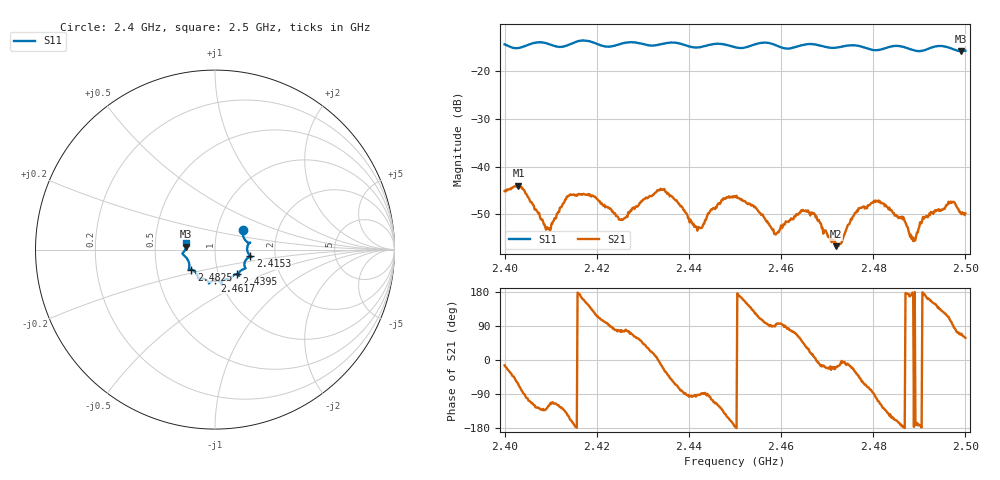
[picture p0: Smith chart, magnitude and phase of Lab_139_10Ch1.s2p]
# Hz S RI R 50
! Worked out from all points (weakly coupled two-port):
!   601 points, 2.4 GHz to 2.5 GHz, reference 50 ohm
!   highest |S21| = -43.96 dB at 2.403 GHz (marker M1); lowest = -56.6 dB at 2.4718 GHz (marker M2)
!   lowest |S11| = -15.8 dB at 2.499 GHz (marker M3), VSWR 1.38, Z = 36.2 + j1.28 ohm
!   |S11| at or under -10 dB: start of sweep to end of sweep
!   S12 and S22 are empty: the file has one direction only
!   S11 on the Smith chart (normalised r, x): 2.4 GHz: 1.33, +0.30; 2.4153 GHz: 1.49, -0.11; 2.4395 GHz: 1.22, -0.35; 2.4617 GHz: 0.94, -0.33; 2.4825 GHz: 0.75, -0.17; 2.5 GHz: 0.72, +0.05
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2.4e9  0.156 0.1085  0.0054 -0.00134  0 0  0 0
2.403e9  0.1633 0.0602  0.00268 -0.00574  0 0  0 0
2.4095e9  0.1893 0.0345  -0.00115 -0.00192  0 0  0 0
2.415333e9  0.1973 -0.0369  -0.00499 -0.000363  0 0  0 0
2.416667e9  0.204 -0.0415  -0.00495 0.00134  0 0  0 0
2.425333e9  0.1667 -0.0978  0.000549 0.00277  0 0  0 0
2.433333e9  0.1327 -0.1333  0.00565 -2.01e-05  0 0  0 0
2.4395e9  0.1224 -0.1378  -0.000139 -0.00323  0 0  0 0
2.442333e9  0.0954 -0.1495  -4.64e-05 -0.0023  0 0  0 0
2.45e9  0.0667 -0.1644  -0.0049 -0.000363  0 0  0 0
2.458667e9  0.034 -0.1847  5.11e-05 0.00199  0 0  0 0
2.461667e9  0.00083 -0.1719  0.000313 0.00264  0 0  0 0
2.466667e9  -0.0337 -0.1884  0.00322 0.000815  0 0  0 0
2.471833e9  -0.0654 -0.1626  0.00138 -0.00051  0 0  0 0
2.477e9  -0.0954 -0.1555  0.00251 -0.00269  0 0  0 0
2.4825e9  -0.1321 -0.1113  -0.00252 -0.00292  0 0  0 0
2.483333e9  -0.1393 -0.1105  -0.00283 -0.00219  0 0  0 0
2.488833e9  -0.1436 -0.0799  -0.00177 -0.000108  0 0  0 0
2.491167e9  -0.1587 -0.0461  -0.00292 0.00035  0 0  0 0
2.496333e9  -0.1757 -0.015  -0.00176 0.00392  0 0  0 0
2.499e9  -0.1604 0.0173  0.00127 0.00299  0 0  0 0
2.5e9  -0.1597 0.0349  0.00171 0.00275  0 0  0 0
